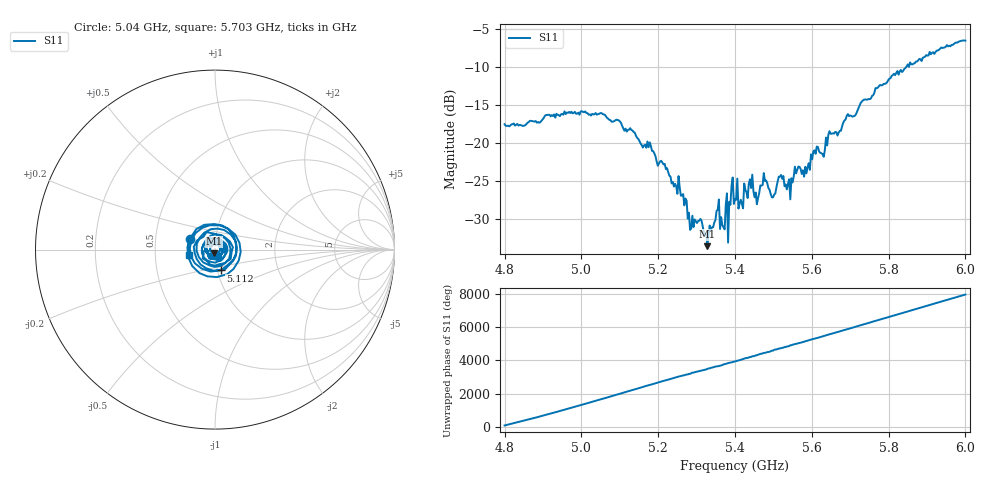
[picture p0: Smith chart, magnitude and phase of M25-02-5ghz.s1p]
! NanoVNA-App
! Date: 2026-05-25 01:50:20
! Start: 4.8GHz Stop: 6GHz Points: 401
! S-Parameter data: F S11
# Hz S RI R 50
!  Frequency  S11_Real  S11_Imag
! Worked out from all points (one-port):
!   401 points, 4.8 GHz to 6 GHz, reference 50 ohm
!   lowest |S11| = -33.6 dB at 5.328 GHz (marker M1), VSWR 1.04, Z = 49.5 - j2.01 ohm
!   |S11| at or under -10 dB: start of sweep to 5.846 GHz; 5.852898 GHz to 5.853056 GHz (158 kHz wide, 0.0027 % of centre)
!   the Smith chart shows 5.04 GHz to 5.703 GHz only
!   S11 on the Smith chart (normalised r, x): 5.04 GHz: 0.75, +0.09; 5.112 GHz: 1.04, -0.24; 5.703 GHz: 0.74, -0.05
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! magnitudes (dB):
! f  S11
! 4.8 GHz  -17.6
! 4.95 GHz  -16.2
! 5.04 GHz  -16.3
! 5.1 GHz  -17.2
! 5.112 GHz  -18.4
! 5.178 GHz  -19.9
! 5.25 GHz  -26.7
! 5.283 GHz  -31.4
! 5.31 GHz  -30.0
! 5.328 GHz  -33.6
! 5.352 GHz  -28.9
! 5.367 GHz  -30.9
! 5.4 GHz  -27.4
! 5.415 GHz  -27.5
! 5.442 GHz  -25.9
! 5.457 GHz  -28.1
! 5.475 GHz  -24.0
! 5.499 GHz  -27.2
! 5.52 GHz  -24.2
! 5.538 GHz  -25.4
! 5.55 GHz  -25.2
! 5.562 GHz  -23.6
! 5.58 GHz  -24.4
! 5.61 GHz  -21.4
! 5.7 GHz  -16.4
! 5.703 GHz  -16.5
! 5.85 GHz  -9.7
! 6 GHz  -6.6
